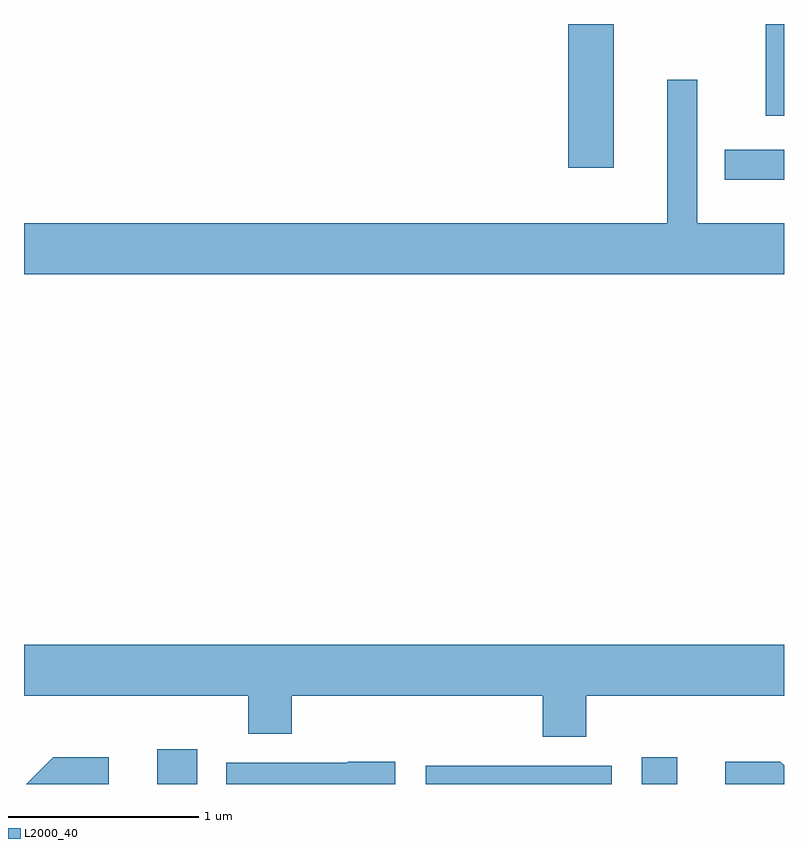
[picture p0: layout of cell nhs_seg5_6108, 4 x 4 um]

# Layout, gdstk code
import gdstk
lib = gdstk.Library(unit=1e-6, precision=1e-09)
def R(c, l, rs):  # rectangles x0, y0, x1, y1
    for r in rs: c.add(gdstk.rectangle(r[:2], r[2:], *l))
def P(c, l, *ps):  # polygons
    for p in ps: c.add(gdstk.Polygon(p, *l))
L2000_40 = (2000, 40)

nhs_seg5_6108 = lib.new_cell('nhs_seg5_6108')
R(nhs_seg5_6108, L2000_40, [(366.311,1494.072,366.524,1494.254), (367.726,1494.072,368.704,1494.169), (368.861,1494.072,369.049,1494.214), (369.298,1497.251,369.611,1497.409), (368.476,1497.316,368.714,1498.072), (369.516,1497.588,369.611,1498.072)])
P(nhs_seg5_6108, L2000_40, [(369.611,1497.024),(369.154,1497.024),(369.154,1497.778),(368.996,1497.778),(368.996,1497.024),(365.611,1497.024),(365.611,1496.756),(369.611,1496.756)],
  [(368.569,1494.536),(369.611,1494.536),(369.611,1494.804),(365.611,1494.804),(365.611,1494.536),(366.791,1494.536),(366.791,1494.336),(367.019,1494.336),(367.019,1494.536),(368.341,1494.536),(368.341,1494.321),(368.569,1494.321)],
  [(366.058,1494.214),(365.764,1494.214),(365.622,1494.072),(366.058,1494.072)],
  [(367.564,1494.189),(367.315,1494.189),(367.315,1494.184),(366.676,1494.184),(366.676,1494.072),(367.564,1494.072)],
  [(369.611,1494.17),(369.592,1494.189),(369.303,1494.189),(369.303,1494.072),(369.611,1494.072)])

lib.write_gds('nhs_seg5_6108.gds')
